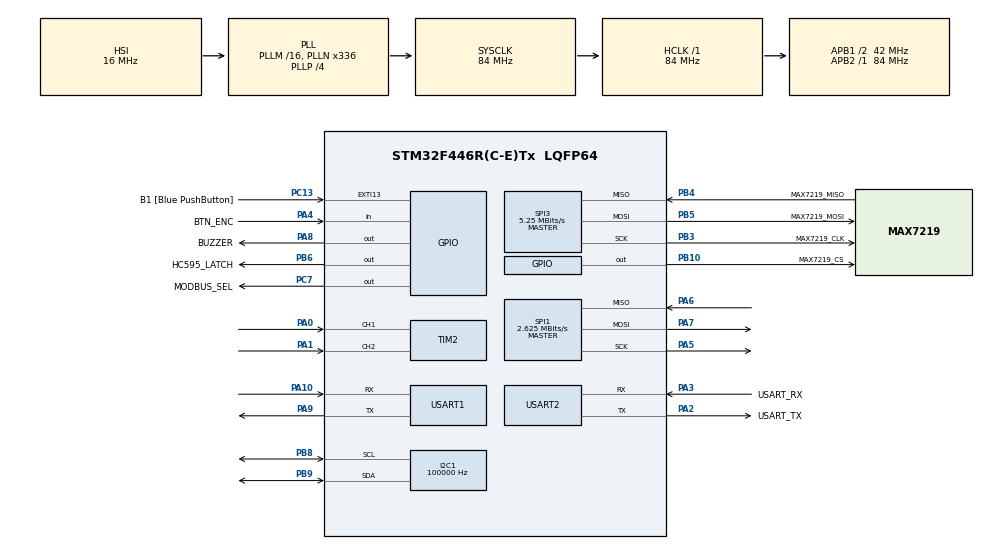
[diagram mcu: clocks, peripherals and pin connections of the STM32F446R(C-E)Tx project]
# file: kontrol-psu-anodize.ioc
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FREERTOS.BinarySemaphores01=buzzerSemaphore,Dynamic,NULL,Available
FREERTOS.Mutexes01=timerDataMutex,Dynamic,NULL,Available
FREERTOS.Tasks01=taskTimerManager,32,1024,StartTaskTimerManager,Default,NULL,Dynamic,NULL,NULL;taskDisplayManager,40,1024,StartTaskDisplayManager,Default,NULL,Dynamic,NULL,NULL;taskInputHandler,8,256,StartTaskInputHandler,Default,NULL,Dynamic,NULL,NULL;taskBuzzer,8,256,StartTaskBuzzer,Default,NULL,Dynamic,NULL,NULL;taskModbusMaster,24,512,StartTaskModbusMaster,Default,NULL,Dynamic,NULL,NULL
FREERTOS.configMAX_TASK_NAME_LEN=32
FREERTOS.configUSE_NEWLIB_REENTRANT=1
I2C1.ClockSpeed=100000
Mcu.Family=STM32F4
Mcu.Name=STM32F446R(C-E)Tx
Mcu.Package=LQFP64
NVIC.PriorityGroup=NVIC_PRIORITYGROUP_4
NVIC.TIM7_IRQn=true\:15\:0\:false\:false\:true\:false\:false\:true\:true
NVIC.TimeBase=TIM7_IRQn
NVIC.TimeBaseIP=TIM7
PA0-WKUP.Signal=S_TIM2_CH1_ETR
PA1.Signal=S_TIM2_CH2
PA10.Mode=Asynchronous
PA10.Signal=USART1_RX
PA13.GPIO_Label=TMS
PA13.Mode=Serial_Wire
PA13.Signal=SYS_JTMS-SWDIO
PA14.GPIO_Label=TCK
PA14.Mode=Serial_Wire
PA14.Signal=SYS_JTCK-SWCLK
PA2.GPIO_Label=USART_TX
PA2.Mode=Asynchronous
PA2.Signal=USART2_TX
PA3.GPIO_Label=USART_RX
PA3.Mode=Asynchronous
PA3.Signal=USART2_RX
PA4.GPIO_Label=BTN_ENC
PA4.Signal=GPIO_Input
PA5.Mode=Full_Duplex_Master
PA5.Signal=SPI1_SCK
PA6.Mode=Full_Duplex_Master
PA6.Signal=SPI1_MISO
PA7.Mode=Full_Duplex_Master
PA7.Signal=SPI1_MOSI
PA8.GPIO_Label=BUZZER
PA8.Signal=GPIO_Output
PA9.Mode=Asynchronous
PA9.Signal=USART1_TX
PB10.GPIO_Label=MAX7219_CS
PB10.Signal=GPIO_Output
PB3.GPIO_Label=MAX7219_CLK
PB3.Mode=Full_Duplex_Master
PB3.Signal=SPI3_SCK
PB4.GPIO_Label=MAX7219_MISO
PB4.Mode=Full_Duplex_Master
PB4.Signal=SPI3_MISO
PB5.GPIO_Label=MAX7219_MOSI
PB5.Mode=Full_Duplex_Master
PB5.Signal=SPI3_MOSI
PB6.GPIO_Label=HC595_LATCH
PB6.Signal=GPIO_Output
PB8.Mode=I2C
PB8.Signal=I2C1_SCL
PB9.Mode=I2C
PB9.Signal=I2C1_SDA
PC13.GPIO_Label=B1 [Blue PushButton]
PC13.GPIO_ModeDefaultEXTI=GPIO_MODE_IT_FALLING
PC13.Signal=GPXTI13
PC7.GPIO_Label=MODBUS_SEL
PC7.Signal=GPIO_Output
ProjectManager.HeapSize=0x200
ProjectManager.StackSize=0x400
ProjectManager.TargetToolchain=STM32CubeIDE
RCC.48MHZClocksFreq_Value=84000000
RCC.AHBFreq_Value=84000000
RCC.APB1CLKDivider=RCC_HCLK_DIV2
RCC.APB1Freq_Value=42000000
RCC.APB1TimFreq_Value=84000000
RCC.APB2Freq_Value=84000000
RCC.APB2TimFreq_Value=84000000
RCC.CortexFreq_Value=84000000
RCC.FLatency-AdvancedSettings=FLASH_LATENCY_2
RCC.HCLKFreq_Value=84000000
RCC.HSE_VALUE=8000000
RCC.HSI_VALUE=16000000
RCC.PLLN=336
RCC.PLLP=RCC_PLLP_DIV4
RCC.SYSCLKFreq_VALUE=84000000
RCC.SYSCLKSource=RCC_SYSCLKSOURCE_PLLCLK
RCC.USBFreq_Value=168000000
RCC.VCOOutputFreq_Value=336000000
SH.S_TIM2_CH1_ETR.0=TIM2_CH1,Encoder_Interface
SH.S_TIM2_CH2.0=TIM2_CH2,Encoder_Interface
SPI1.BaudRatePrescaler=SPI_BAUDRATEPRESCALER_32
SPI1.CalculateBaudRate=2.625 MBits/s
SPI1.Direction=SPI_DIRECTION_2LINES
SPI1.Mode=SPI_MODE_MASTER
SPI1.VirtualType=VM_MASTER
SPI3.BaudRatePrescaler=SPI_BAUDRATEPRESCALER_8
SPI3.CalculateBaudRate=5.25 MBits/s
SPI3.Direction=SPI_DIRECTION_2LINES
SPI3.Mode=SPI_MODE_MASTER
SPI3.VirtualType=VM_MASTER
TIM2.AutoReloadPreload=TIM_AUTORELOAD_PRELOAD_ENABLE
TIM2.EncoderMode=TIM_ENCODERMODE_TI12
TIM2.IC1Filter=10
TIM2.IC2Filter=10
USART1.Parity=PARITY_EVEN
USART1.VirtualMode=VM_ASYNC
USART1.WordLength=WORDLENGTH_9B
USART2.VirtualMode=VM_ASYNC
VP_FREERTOS_VS_CMSIS_V2.Mode=CMSIS_V2
VP_SYS_VS_tim7.Mode=TIM7
board=NUCLEO-F446RE

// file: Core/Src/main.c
/* USER CODE BEGIN Header */
/**
 ******************************************************************************
 * @file           : main.c
 * @brief          : Main program body
 ******************************************************************************
 * @attention
 *
 * Copyright (c) 2025 STMicroelectronics.
 * All rights reserved.
 *
 * This software is licensed under terms that can be found in the LICENSE file
 * in the root directory of this software component.
 * If no LICENSE file comes with this software, it is provided AS-IS.
 *
 ******************************************************************************
 */
/* USER CODE END Header */
#include "main.h"
#include "cmsis_os.h"

/* USER CODE BEGIN Includes */
#include "i2c-lcd.h"
#include "stdio.h"
#include "string.h"
#include "stdbool.h"
#include "stdlib.h"
#include "flash_storage.h"
/* USER CODE END Includes */

/* USER CODE BEGIN PTD */
// Struktur untuk menyimpan informasi setiap timer
// typedef struct
//{
//  uint32_t remaining_seconds; // Waktu tersisa dalam detik
//  bool is_running;            // Status: true jika berjalan, false jika berhenti
//  bool is_finished;           // Status: true jika timer sudah selesai (mencapai 0)
//} TimerInfo_t;

// Mode operasi program
typedef enum
{
  MODE_RUN, // Mode normal, timer berjalan dan menampilkan waktu
  MODE_SET  // Mode pengaturan, untuk mengubah nilai timer
} OperatingMode_t;

// Enum untuk menentukan bagian mana yang sedang diedit di MODE_SET
typedef enum
{
  EDIT_FOCUS_HOUR,
  EDIT_FOCUS_MINUTE,
  EDIT_FOCUS_SECOND,
  EDIT_FOCUS_CURRENT,
  EDIT_FOCUS_START_STOP,
  EDIT_FOCUS_EXIT // Status virtual untuk keluar dari mode SET
} EditFocus_t;
/* USER CODE END PTD */

/* USER CODE BEGIN PD */
#define MAX_CURRENT_A 100 // Nilai arus maksimal dalam Ampere

#define NUM_TIMERS 8          // Jumlah total timer
#define NUM_MATRICES 8        // Jumlah modul matriks yang di-cascade
#define JENIS_FONT FONT_TIPIS // Jenis font yang digunakan untuk tampilan FONT_TIPIS atau FONT_TEBAL

// Definisi untuk driver MAX7219
#define MAX7219_CS_PORT MAX7219_CS_GPIO_Port
#define MAX7219_CS_PIN MAX7219_CS_Pin

#define MAX7219_REG_NO_OP 0x00
#define MAX7219_REG_DECODE_MODE 0x09
#define MAX7219_REG_INTENSITY 0x0A
#define MAX7219_REG_SCAN_LIMIT 0x0B
#define MAX7219_REG_SHUTDOWN 0x0C
#define MAX7219_REG_DISPLAY_TEST 0x0F

// === Definisi Driver 74HC595 (via SPI2) ===
#define HC595_LATCH_PORT HC595_LATCH_GPIO_Port // Pin STCP / RCLK
#define HC595_LATCH_PIN HC595_LATCH_Pin        // Pin RCLK
// Pin DATA (MOSI) dan CLK (SCK) dikontrol oleh periferal SPI2

// Definisi pin tombol (sesuaikan dengan konfigurasi CubeMX Anda)
#define BTN_SET_PORT BTN_ENC_GPIO_Port
#define BTN_SET_PIN BTN_ENC_Pin

// Definisi pin buzzer
#define BUZZER_PORT BUZZER_GPIO_Port
#define BUZZER_PIN BUZZER_Pin

// --- Definisi Modbus ---
#define MODBUS_SLAVE_ID 1
#define MODBUS_WRITE_MULTIPLE_REGS 0x10
#define MODBUS_START_ADDRESS 0
#define MODBUS_NUM_REGISTERS (NUM_TIMERS * 4) // 4 register per timer (jam, menit, detik, status)
/* USER CODE END PD */

I2C_HandleTypeDef hi2c1;

SPI_HandleTypeDef hspi1;
SPI_HandleTypeDef hspi3;

TIM_HandleTypeDef htim2;

UART_HandleTypeDef huart1;
UART_HandleTypeDef huart2;

/* Definitions for taskTimerManager */
osThreadId_t taskTimerManagerHandle;
const osThreadAttr_t taskTimerManager_attributes = {
    .name = "taskTimerManager",
    .stack_size = 1024 * 4,
    .priority = (osPriority_t)osPriorityAboveNormal,
};
/* Definitions for taskDisplayManager */
osThreadId_t taskDisplayManagerHandle;
const osThreadAttr_t taskDisplayManager_attributes = {
    .name = "taskDisplayManager",
    .stack_size = 1024 * 4,
    .priority = (osPriority_t)osPriorityHigh,
};
/* Definitions for taskInputHandler */
osThreadId_t taskInputHandlerHandle;
const osThreadAttr_t taskInputHandler_attributes = {
    .name = "taskInputHandler",
    .stack_size = 256 * 4,
    .priority = (osPriority_t)osPriorityLow,
};
/* Definitions for taskBuzzer */
osThreadId_t taskBuzzerHandle;
const osThreadAttr_t taskBuzzer_attributes = {
    .name = "taskBuzzer",
    .stack_size = 256 * 4,
    .priority = (osPriority_t)osPriorityLow,
};
/* Definitions for taskModbusMaster */
osThreadId_t taskModbusMasterHandle;
const osThreadAttr_t taskModbusMaster_attributes = {
    .name = "taskModbusMaster",
    .stack_size = 512 * 4,
    .priority = (osPriority_t)osPriorityNormal,
};
/* Definitions for timerDataMutex */
osMutexId_t timerDataMutexHandle;
const osMutexAttr_t timerDataMutex_attributes = {
    .name = "timerDataMutex"};
/* Definitions for buzzerSemaphore */
osSemaphoreId_t buzzerSemaphoreHandle;
const osSemaphoreAttr_t buzzerSemaphore_attributes = {
    .name = "buzzerSemaphore"};
/* USER CODE BEGIN PV */
// Variabel Global (Shared State) - dilindungi oleh Mutex
TimerInfo_t timers[NUM_TIMERS];
OperatingMode_t current_mode = MODE_RUN;
uint8_t selected_timer_index = 0;         // Timer yang sedang dipilih (untuk diatur/dilihat)
uint8_t run_mode_display_index = 0;       // Timer yang sedang ditampilkan di mode RUN
EditFocus_t edit_focus = EDIT_FOCUS_HOUR; // Fokus edit saat berada di MODE_SET
/* USER CODE END PV */

void SystemClock_Config(void);
static void MX_GPIO_Init(void);
static void MX_USART2_UART_Init(void);
static void MX_I2C1_Init(void);
static void MX_SPI1_Init(void);
static void MX_SPI3_Init(void);
static void MX_TIM2_Init(void);
static void MX_USART1_UART_Init(void);
void StartTaskTimerManager(void *argument);
void StartTaskDisplayManager(void *argument);
void StartTaskInputHandler(void *argument);
void StartTaskBuzzer(void *argument);
void StartTaskModbusMaster(void *argument);

/* USER CODE BEGIN PFP */
// Prototipe fungsi helper
void InitializeTimers(void);
void format_time(char *buffer, uint32_t total_seconds);
void format_time_split(uint32_t total_seconds, uint32_t *h, uint32_t *m, uint32_t *s);

// Prototipe Driver MAX7219
void MAX7219_Init(void);
void MAX7219_Send_Cascade(uint8_t reg, const uint8_t *data_array);
void MAX7219_Clear_Cascade(void);
void DrawCharacterOnMatrix(uint8_t matrix_buffer[8], char c);

// Prototipe Driver 74HC595
void HC595_Write(uint8_t data);

// --- Prototipe Fungsi Modbus ---
uint16_t Modbus_CRC16(const uint8_t *nData, uint16_t wLength);
void ModbusMaster_WriteMultipleRegisters(uint8_t slave_id, uint16_t start_addr, uint16_t num_regs, uint16_t *reg_data);
/* USER CODE END PFP */

/* USER CODE BEGIN 0 */

// ===================================================================
// ===         FONT DEFINITION UNTUK DOT MATRIX 8x8 (BARU)         ===
// ===================================================================
// Definisi font untuk karakter 0-9 dan ':'
// Setiap karakter direpresentasikan oleh 8 byte, masing-masing byte untuk satu baris
// Lebar karakter 5 piksel, tinggi 8 piksel
const uint8_t font_tipis[11][8] = {
    {0x3E, 0x42, 0x46, 0x4A, 0x52, 0x62, 0x42, 0x3E}, // 0
    {0x10, 0x30, 0x10, 0x10, 0x10, 0x10, 0x10, 0x38}, // 1
    {0x3E, 0x42, 0x02, 0x04, 0x08, 0x10, 0x40, 0x7E}, // 2
    {0x3E, 0x42, 0x02, 0x1C, 0x02, 0x02, 0x42, 0x3E}, // 3
    {0x04, 0x0C, 0x14, 0x24, 0x7E, 0x04, 0x04, 0x04}, // 4
    {0x7E, 0x40, 0x40, 0x7C, 0x02, 0x02, 0x42, 0x3E}, // 5
    {0x3E, 0x42, 0x40, 0x7C, 0x42, 0x42, 0x42, 0x3E}, // 6
    {0x7E, 0x42, 0x04, 0x08, 0x10, 0x20, 0x20, 0x20}, // 7
    {0x3E, 0x42, 0x42, 0x3E, 0x42, 0x42, 0x42, 0x3E}, // 8
    {0x3E, 0x42, 0x42, 0x42, 0x3E, 0x02, 0x42, 0x3E}, // 9
    {0x00, 0x00, 0x30, 0x30, 0x00, 0x30, 0x30, 0x00}  // :
};

const uint8_t font_tebal[11][8] = {
    {0x7C, 0xC6, 0xCE, 0xDE, 0xF6, 0xE6, 0x7C, 0x00}, // U+0030 (0)
    {0x30, 0x70, 0x30, 0x30, 0x30, 0x30, 0xFC, 0x00}, // U+0031 (1)
    {0x78, 0xCC, 0x0C, 0x38, 0x60, 0xCC, 0xFC, 0x00}, // U+0032 (2)
    {0x78, 0xCC, 0x0C, 0x38, 0x0C, 0xCC, 0x78, 0x00}, // U+0033 (3)
    {0x1C, 0x3C, 0x6C, 0xCC, 0xFE, 0x0C, 0x1E, 0x00}, // U+0034 (4)
    {0xFC, 0xC0, 0xF8, 0x0C, 0x0C, 0xCC, 0x78, 0x00}, // U+0035 (5)
    {0x38, 0x60, 0xC0, 0xF8, 0xCC, 0xCC, 0x78, 0x00}, // U+0036 (6)
    {0xFC, 0xCC, 0x0C, 0x30, 0x60, 0x60, 0x60, 0x00}, // U+0037 (7)
    {0x78, 0xCC, 0xCC, 0x78, 0xCC, 0xCC, 0x78, 0x00}, // U+0038 (8)
    {0x78, 0xCC, 0xCC, 0x7C, 0x0C, 0x30, 0x70, 0x00}, // U+0039 (9)
    {0x00, 0x30, 0x30, 0x00, 0x00, 0x30, 0x30, 0x00}  // U+003A (:)
};
/* USER CODE END 0 */

int main(void)
{

  /* MCU Configuration--------------------------------------------------------*/

  /* Reset of all peripherals, Initializes the Flash interface and the Systick. */
  HAL_Init();

  /* Configure the system clock */
  SystemClock_Config();

  /* Initialize all configured peripherals */
  MX_GPIO_Init();
  MX_USART2_UART_Init();
  MX_I2C1_Init();
  MX_SPI1_Init();
  MX_SPI3_Init();
  MX_TIM2_Init();
  MX_USART1_UART_Init();
  /* USER CODE BEGIN 2 */
  /* Initialize custom peripherals and data */
  InitializeTimers();
  lcd_init();
  MAX7219_Init();
  HC595_Write(0x00); // Matikan semua LED

  // Mulai timer encoder
  HAL_TIM_Encoder_Start(&htim2, TIM_CHANNEL_ALL);
  /* USER CODE END 2 */

  /* Init scheduler */
  osKernelInitialize();
  /* Create the mutex(es) */
  /* creation of timerDataMutex */
  timerDataMutexHandle = osMutexNew(&timerDataMutex_attributes);

  /* Create the semaphores(s) */
  /* creation of buzzerSemaphore */
  buzzerSemaphoreHandle = osSemaphoreNew(1, 1, &buzzerSemaphore_attributes);

  /* Create the thread(s) */
  /* creation of taskTimerManager */
  taskTimerManagerHandle = osThreadNew(StartTaskTimerManager, NULL, &taskTimerManager_attributes);

  /* creation of taskDisplayManager */
  taskDisplayManagerHandle = osThreadNew(StartTaskDisplayManager, NULL, &taskDisplayManager_attributes);

  /* creation of taskInputHandler */
  taskInputHandlerHandle = osThreadNew(StartTaskInputHandler, NULL, &taskInputHandler_attributes);

  /* creation of taskBuzzer */
  taskBuzzerHandle = osThreadNew(StartTaskBuzzer, NULL, &taskBuzzer_attributes);

  /* creation of taskModbusMaster */
  taskModbusMasterHandle = osThreadNew(StartTaskModbusMaster, NULL, &taskModbusMaster_attributes);

  /* USER CODE BEGIN RTOS_THREADS */
  /* add threads, ... */

  //  cek apakah thread sudah berhasil atau belum
  if (taskTimerManagerHandle == NULL ||
      taskDisplayManagerHandle == NULL ||
      taskInputHandlerHandle == NULL ||
      taskBuzzerHandle == NULL ||
      taskModbusMasterHandle == NULL)
  {
    /* Thread creation failed, handle error */
    //    lcd_put_cur(0, 0);
    //    lcd_send_string("Dtech Eng");
    //    lcd_put_cur(1, 0);
    //    lcd_send_string("Failed");
    Error_Handler();
  }
  /* USER CODE END RTOS_THREADS */

  /* Start scheduler */
  osKernelStart();

  /* We should never get here as control is now taken by the scheduler */

  /* Infinite loop */
  while (1)
  {

  }
}

void SystemClock_Config(void)
{
  RCC_OscInitTypeDef RCC_OscInitStruct = {0};
  RCC_ClkInitTypeDef RCC_ClkInitStruct = {0};

  /** Configure the main internal regulator output voltage
   */
  __HAL_RCC_PWR_CLK_ENABLE();
  __HAL_PWR_VOLTAGESCALING_CONFIG(PWR_REGULATOR_VOLTAGE_SCALE3);

  /** Initializes the RCC Oscillators according to the specified parameters
   * in the RCC_OscInitTypeDef structure.
   */
  RCC_OscInitStruct.OscillatorType = RCC_OSCILLATORTYPE_HSI;
  RCC_OscInitStruct.HSIState = RCC_HSI_ON;
  RCC_OscInitStruct.HSICalibrationValue = RCC_HSICALIBRATION_DEFAULT;
  RCC_OscInitStruct.PLL.PLLState = RCC_PLL_ON;
  RCC_OscInitStruct.PLL.PLLSource = RCC_PLLSOURCE_HSI;
  RCC_OscInitStruct.PLL.PLLM = 16;
  RCC_OscInitStruct.PLL.PLLN = 336;
  RCC_OscInitStruct.PLL.PLLP = RCC_PLLP_DIV4;
  RCC_OscInitStruct.PLL.PLLQ = 2;
  RCC_OscInitStruct.PLL.PLLR = 2;
  if (HAL_RCC_OscConfig(&RCC_OscInitStruct) != HAL_OK)
  {
    Error_Handler();
  }

  /** Initializes the CPU, AHB and APB buses clocks
   */
  RCC_ClkInitStruct.ClockType = RCC_CLOCKTYPE_HCLK | RCC_CLOCKTYPE_SYSCLK | RCC_CLOCKTYPE_PCLK1 | RCC_CLOCKTYPE_PCLK2;
  RCC_ClkInitStruct.SYSCLKSource = RCC_SYSCLKSOURCE_PLLCLK;
  RCC_ClkInitStruct.AHBCLKDivider = RCC_SYSCLK_DIV1;
  RCC_ClkInitStruct.APB1CLKDivider = RCC_HCLK_DIV2;
  RCC_ClkInitStruct.APB2CLKDivider = RCC_HCLK_DIV1;

  if (HAL_RCC_ClockConfig(&RCC_ClkInitStruct, FLASH_LATENCY_2) != HAL_OK)
  {
    Error_Handler();
  }
}

static void MX_I2C1_Init(void)
{

  hi2c1.Instance = I2C1;
  hi2c1.Init.ClockSpeed = 100000;
  hi2c1.Init.DutyCycle = I2C_DUTYCYCLE_2;
  hi2c1.Init.OwnAddress1 = 0;
  hi2c1.Init.AddressingMode = I2C_ADDRESSINGMODE_7BIT;
  hi2c1.Init.DualAddressMode = I2C_DUALADDRESS_DISABLE;
  hi2c1.Init.OwnAddress2 = 0;
  hi2c1.Init.GeneralCallMode = I2C_GENERALCALL_DISABLE;
  hi2c1.Init.NoStretchMode = I2C_NOSTRETCH_DISABLE;
  if (HAL_I2C_Init(&hi2c1) != HAL_OK)
  {
    Error_Handler();
  }
}

static void MX_SPI1_Init(void)
{

  /* SPI1 parameter configuration*/
  hspi1.Instance = SPI1;
  hspi1.Init.Mode = SPI_MODE_MASTER;
  hspi1.Init.Direction = SPI_DIRECTION_2LINES;
  hspi1.Init.DataSize = SPI_DATASIZE_8BIT;
  hspi1.Init.CLKPolarity = SPI_POLARITY_LOW;
  hspi1.Init.CLKPhase = SPI_PHASE_1EDGE;
  hspi1.Init.NSS = SPI_NSS_SOFT;
  hspi1.Init.BaudRatePrescaler = SPI_BAUDRATEPRESCALER_32;
  hspi1.Init.FirstBit = SPI_FIRSTBIT_MSB;
  hspi1.Init.TIMode = SPI_TIMODE_DISABLE;
  hspi1.Init.CRCCalculation = SPI_CRCCALCULATION_DISABLE;
  hspi1.Init.CRCPolynomial = 10;
  if (HAL_SPI_Init(&hspi1) != HAL_OK)
  {
    Error_Handler();
  }
}

static void MX_SPI3_Init(void)
{

  /* SPI3 parameter configuration*/
  hspi3.Instance = SPI3;
  hspi3.Init.Mode = SPI_MODE_MASTER;
  hspi3.Init.Direction = SPI_DIRECTION_2LINES;
  hspi3.Init.DataSize = SPI_DATASIZE_8BIT;
  hspi3.Init.CLKPolarity = SPI_POLARITY_LOW;
  hspi3.Init.CLKPhase = SPI_PHASE_1EDGE;
  hspi3.Init.NSS = SPI_NSS_SOFT;
  hspi3.Init.BaudRatePrescaler = SPI_BAUDRATEPRESCALER_8;
  hspi3.Init.FirstBit = SPI_FIRSTBIT_MSB;
  hspi3.Init.TIMode = SPI_TIMODE_DISABLE;
  hspi3.Init.CRCCalculation = SPI_CRCCALCULATION_DISABLE;
  hspi3.Init.CRCPolynomial = 10;
  if (HAL_SPI_Init(&hspi3) != HAL_OK)
  {
    Error_Handler();
  }
}

static void MX_TIM2_Init(void)
{

  TIM_Encoder_InitTypeDef sConfig = {0};
  TIM_MasterConfigTypeDef sMasterConfig = {0};

  htim2.Instance = TIM2;
  htim2.Init.Prescaler = 0;
  htim2.Init.CounterMode = TIM_COUNTERMODE_UP;
  htim2.Init.Period = 4294967295;
  htim2.Init.ClockDivision = TIM_CLOCKDIVISION_DIV1;
  htim2.Init.AutoReloadPreload = TIM_AUTORELOAD_PRELOAD_ENABLE;
  sConfig.EncoderMode = TIM_ENCODERMODE_TI12;
  sConfig.IC1Polarity = TIM_ICPOLARITY_RISING;
  sConfig.IC1Selection = TIM_ICSELECTION_DIRECTTI;
  sConfig.IC1Prescaler = TIM_ICPSC_DIV1;
  sConfig.IC1Filter = 10;
  sConfig.IC2Polarity = TIM_ICPOLARITY_RISING;
  sConfig.IC2Selection = TIM_ICSELECTION_DIRECTTI;
  sConfig.IC2Prescaler = TIM_ICPSC_DIV1;
  sConfig.IC2Filter = 10;
  if (HAL_TIM_Encoder_Init(&htim2, &sConfig) != HAL_OK)
  {
    Error_Handler();
  }
  sMasterConfig.MasterOutputTrigger = TIM_TRGO_RESET;
  sMasterConfig.MasterSlaveMode = TIM_MASTERSLAVEMODE_DISABLE;
  if (HAL_TIMEx_MasterConfigSynchronization(&htim2, &sMasterConfig) != HAL_OK)
  {
    Error_Handler();
  }
}

static void MX_USART1_UART_Init(void)
{

  huart1.Instance = USART1;
  huart1.Init.BaudRate = 115200;
  huart1.Init.WordLength = UART_WORDLENGTH_9B;
  huart1.Init.StopBits = UART_STOPBITS_1;
  huart1.Init.Parity = UART_PARITY_EVEN;
  huart1.Init.Mode = UART_MODE_TX_RX;
  huart1.Init.HwFlowCtl = UART_HWCONTROL_NONE;
  huart1.Init.OverSampling = UART_OVERSAMPLING_16;
  if (HAL_UART_Init(&huart1) != HAL_OK)
  {
    Error_Handler();
  }
}

static void MX_USART2_UART_Init(void)
{

  huart2.Instance = USART2;
  huart2.Init.BaudRate = 115200;
  huart2.Init.WordLength = UART_WORDLENGTH_8B;
  huart2.Init.StopBits = UART_STOPBITS_1;
  huart2.Init.Parity = UART_PARITY_NONE;
  huart2.Init.Mode = UART_MODE_TX_RX;
  huart2.Init.HwFlowCtl = UART_HWCONTROL_NONE;
  huart2.Init.OverSampling = UART_OVERSAMPLING_16;
  if (HAL_UART_Init(&huart2) != HAL_OK)
  {
    Error_Handler();
  }
}

static void MX_GPIO_Init(void)
{
  GPIO_InitTypeDef GPIO_InitStruct = {0};

  /* GPIO Ports Clock Enable */
  __HAL_RCC_GPIOC_CLK_ENABLE();
  __HAL_RCC_GPIOA_CLK_ENABLE();
  __HAL_RCC_GPIOB_CLK_ENABLE();

  /*Configure GPIO pin Output Level */
  HAL_GPIO_WritePin(GPIOB, MAX7219_CS_Pin | HC595_LATCH_Pin, GPIO_PIN_RESET);

  /*Configure GPIO pin Output Level */
  HAL_GPIO_WritePin(MODBUS_SEL_GPIO_Port, MODBUS_SEL_Pin, GPIO_PIN_RESET);

  /*Configure GPIO pin Output Level */
  HAL_GPIO_WritePin(BUZZER_GPIO_Port, BUZZER_Pin, GPIO_PIN_RESET);

  /*Configure GPIO pin : B1_Pin */
  GPIO_InitStruct.Pin = B1_Pin;
  GPIO_InitStruct.Mode = GPIO_MODE_IT_FALLING;
  GPIO_InitStruct.Pull = GPIO_NOPULL;
  HAL_GPIO_Init(B1_GPIO_Port, &GPIO_InitStruct);

  /*Configure GPIO pin : BTN_ENC_Pin */
  GPIO_InitStruct.Pin = BTN_ENC_Pin;
  GPIO_InitStruct.Mode = GPIO_MODE_INPUT;
  GPIO_InitStruct.Pull = GPIO_NOPULL;
  HAL_GPIO_Init(BTN_ENC_GPIO_Port, &GPIO_InitStruct);

  /*Configure GPIO pins : MAX7219_CS_Pin HC595_LATCH_Pin */
  GPIO_InitStruct.Pin = MAX7219_CS_Pin | HC595_LATCH_Pin;
  GPIO_InitStruct.Mode = GPIO_MODE_OUTPUT_PP;
  GPIO_InitStruct.Pull = GPIO_NOPULL;
  GPIO_InitStruct.Speed = GPIO_SPEED_FREQ_LOW;
  HAL_GPIO_Init(GPIOB, &GPIO_InitStruct);

  /*Configure GPIO pin : MODBUS_SEL_Pin */
  GPIO_InitStruct.Pin = MODBUS_SEL_Pin;
  GPIO_InitStruct.Mode = GPIO_MODE_OUTPUT_PP;
  GPIO_InitStruct.Pull = GPIO_NOPULL;
  GPIO_InitStruct.Speed = GPIO_SPEED_FREQ_LOW;
  HAL_GPIO_Init(MODBUS_SEL_GPIO_Port, &GPIO_InitStruct);

  /*Configure GPIO pin : BUZZER_Pin */
  GPIO_InitStruct.Pin = BUZZER_Pin;
  GPIO_InitStruct.Mode = GPIO_MODE_OUTPUT_PP;
  GPIO_InitStruct.Pull = GPIO_NOPULL;
  GPIO_InitStruct.Speed = GPIO_SPEED_FREQ_LOW;
  HAL_GPIO_Init(BUZZER_GPIO_Port, &GPIO_InitStruct);

}

/* USER CODE BEGIN 4 */

// ============== FUNGSI HELPER & DRIVER MAX7219 =================

/**
 * @brief Menginisialisasi semua timer ke nilai default.
 */
void InitializeTimers(void)
{
  // Pertama, baca semua data dari flash ke dalam array timers
  Flash_Read_Data(timers, NUM_TIMERS);

  // Kemudian, validasi data yang dibaca
  if (osMutexAcquire(timerDataMutexHandle, osWaitForever) == osOK)
  {
    for (int i = 0; i < NUM_TIMERS; i++)
    {
      // Set status runtime ke nilai default
      timers[i].is_running = false;
      timers[i].is_finished = false;

      // Cek jika data yang dibaca dari flash tidak valid (misal, 0xFFFFFFFF setelah erase)
      if (timers[i].remaining_seconds == 0xFFFFFFFF)
      {
        timers[i].remaining_seconds = 0;
        timers[i].current_mA = 0;
      }
      // Validasi arus
      if (timers[i].current_mA > (MAX_CURRENT_A * 1000))
      {
        timers[i].current_mA = 0;
      }
    }
    osMutexRelease(timerDataMutexHandle);
  }
}

/**
 * @brief Mengubah total detik menjadi format HH:MM:SS
 */
void format_time(char *buffer, uint32_t total_seconds)
{
  uint32_t hours = total_seconds / 3600;
  uint32_t minutes = (total_seconds % 3600) / 60;
  uint32_t seconds = total_seconds % 60;
  sprintf(buffer, "%02lu:%02lu:%02lu", hours, minutes, seconds);
}

void format_time_split(uint32_t total_seconds, uint32_t *h, uint32_t *m, uint32_t *s)
{
  *h = total_seconds / 3600;
  *m = (total_seconds % 3600) / 60;
  *s = total_seconds % 60;
}

// ============== DRIVER 74HC595 =================

/**
 * @brief Mengirim 1 byte data ke 74HC595 menggunakan SPI2.
 */
void HC595_Write(uint8_t data)
{
  // Set Latch pin ke LOW sebelum mengirim data
  HAL_GPIO_WritePin(HC595_LATCH_PORT, HC595_LATCH_PIN, GPIO_PIN_RESET);

  // Kirim data melalui SPI. Ini adalah operasi blocking.
  // Timeout diatur ke 100ms.
  if (HAL_SPI_Transmit(&hspi1, &data, 1, 100) != HAL_OK)
  {
    Error_Handler();
  }

  // Set Latch pin ke HIGH untuk memindahkan data dari shift register ke storage register
  HAL_GPIO_WritePin(HC595_LATCH_PORT, HC595_LATCH_PIN, GPIO_PIN_SET);
  HAL_GPIO_WritePin(HC595_LATCH_PORT, HC595_LATCH_PIN, GPIO_PIN_RESET);
}

// ===================================================================
// ===     DRIVER MAX7219 UNTUK DOT MATRIX CASCADE (DIMODIFIKASI)    ===
// ===================================================================

/**
 * @brief Mengirim data ke semua modul MAX7219 yang di-cascade.
 * @param reg: Alamat register MAX7219 yang dituju (misal, baris 1-8).
 * @param data_array: Array 8 byte. data_array[0] untuk modul 1, ..., data_array[7] untuk modul 8.
 */
void MAX7219_Send_Cascade(uint8_t reg, const uint8_t *data_array)
{
  uint8_t spi_data[2];

  HAL_GPIO_WritePin(MAX7219_CS_PORT, MAX7219_CS_PIN, GPIO_PIN_RESET);

  // Kirim data ke semua modul dalam satu siklus CS
  // Data dikirim secara terbalik, karena sifat shift register.
  // Data untuk modul terakhir (paling jauh dari MCU) dikirim pertama kali.
  for (int i = NUM_MATRICES - 1; i >= 0; i--)
  {
    spi_data[0] = reg;
    spi_data[1] = data_array[i];
    HAL_SPI_Transmit(&hspi3, spi_data, 2, 100);
  }

  HAL_GPIO_WritePin(MAX7219_CS_PORT, MAX7219_CS_PIN, GPIO_PIN_SET);
}

/**
 * @brief Inisialisasi modul MAX7219 untuk mode dot matrix.
 */
void MAX7219_Init(void)
{
  uint8_t init_data[NUM_MATRICES] = {0}; // Buffer dummy untuk data

  // Matikan display untuk sementara
  memset(init_data, 0, NUM_MATRICES);
  MAX7219_Send_Cascade(MAX7219_REG_SHUTDOWN, init_data);

  // Matikan display test
  memset(init_data, 0, NUM_MATRICES);
  MAX7219_Send_Cascade(MAX7219_REG_DISPLAY_TEST, init_data);

  // Set scan limit ke 8 baris (digit 0-7)
  memset(init_data, 7, NUM_MATRICES);
  MAX7219_Send_Cascade(MAX7219_REG_SCAN_LIMIT, init_data);

  // Set mode ke No Decode untuk dot matrix
  memset(init_data, 0x00, NUM_MATRICES); // <-- PERUBAHAN PENTING
  MAX7219_Send_Cascade(MAX7219_REG_DECODE_MODE, init_data);

  // Set kecerahan (0-15)
  memset(init_data, 7, NUM_MATRICES);
  MAX7219_Send_Cascade(MAX7219_REG_INTENSITY, init_data);

  // Nyalakan kembali display
  memset(init_data, 1, NUM_MATRICES);
  MAX7219_Send_Cascade(MAX7219_REG_SHUTDOWN, init_data);

  // Bersihkan layar
  MAX7219_Clear_Cascade();
}

/**
 * @brief Membersihkan semua layar dot matrix.
 */
void MAX7219_Clear_Cascade(void)
{
  uint8_t clear_data[NUM_MATRICES];
  memset(clear_data, 0x00, NUM_MATRICES); // 0x00 untuk mematikan semua LED
  for (int i = 1; i <= 8; i++)
  {
    MAX7219_Send_Cascade(i, clear_data);
  }
}

/**
 * @brief Menggambar satu karakter ke buffer 8x8.
 * @param matrix_buffer: Buffer 8 byte untuk satu matriks.
 * @param c: Karakter yang akan digambar ('0'-'9' atau ':').
 */
void DrawCharacterOnMatrix(uint8_t matrix_buffer[8], char c)
{
  int font_index;
  if (c >= '0' && c <= '9')
  {
    font_index = c - '0';
  }
  else if (c == ':')
  {
    font_index = 10;
  }
  else
  {
    // Karakter tidak dikenal, gambar spasi (kosong)
    memset(matrix_buffer, 0x00, 8);
    return;
  }

// Salin data font ke buffer matriks
#if JENIS_FONT == FONT_TIPIS
  memcpy(matrix_buffer, font_tipis[font_index], 8);
#elif JENIS_FONT == FONT_TEBAL
  memcpy(matrix_buffer, font_tebal[font_index], 8);
#endif
}

// ============== FUNGSI MODBUS =================

/**
 * @brief  Menghitung CRC16 untuk frame Modbus.
 * @param  nData: Pointer ke buffer data.
 * @param  wLength: Panjang data dalam byte.
 * @retval Nilai CRC16.
 */
uint16_t Modbus_CRC16(const uint8_t *nData, uint16_t wLength)
{
  static const uint16_t wCRCTable[] = {
      0X0000, 0XC0C1, 0XC181, 0X0140, 0XC301, 0X03C0, 0X0280, 0XC241,
      0XC601, 0X06C0, 0X0780, 0XC741, 0X0500, 0XC5C1, 0XC481, 0X0440,
      0XCC01, 0X0CC0, 0X0D80, 0XCD41, 0X0F00, 0XCFC1, 0XCE81, 0X0E40,
      0X0A00, 0XCAC1, 0XCB81, 0X0B40, 0XCD01, 0X0DC0, 0X0C80, 0XCC41,
      0XD801, 0X18C0, 0X1980, 0XD941, 0X1B00, 0XDBC1, 0XDA81, 0X1A40,
      0X1E00, 0XDEC1, 0XDF81, 0X1F40, 0XDD01, 0X1DC0, 0X1C80, 0XDC41,
      0X1400, 0XD4C1, 0XD581, 0X1540, 0XD701, 0X17C0, 0X1680, 0XD641,
      0XD201, 0X12C0, 0X1380, 0XD341, 0X1100, 0XD1C1, 0XD081, 0X1040,
      0XF001, 0X30C0, 0X3180, 0XF141, 0X3300, 0XF3C1, 0XF281, 0X3240,
      0X3600, 0XF6C1, 0XF781, 0X3740, 0XF501, 0X35C0, 0X3480, 0XF441,
      0X3C00, 0XFCC1, 0XFD81, 0X3D40, 0XFF01, 0X3FC0, 0X3E80, 0XFE41,
      0XFA01, 0X3AC0, 0X3B80, 0XFB41, 0X3900, 0XF9C1, 0XF881, 0X3840,
      0X2800, 0XE8C1, 0XE981, 0X2940, 0XEB01, 0X2BC0, 0X2A80, 0XEA41,
      0XEE01, 0X2EC0, 0X2F80, 0XEF41, 0X2D00, 0XEDC1, 0XEC81, 0X2C40,
      0XE401, 0X24C0, 0X2580, 0XE541, 0X2700, 0XE7C1, 0XE681, 0X2640,
      0X2200, 0XE2C1, 0XE381, 0X2340, 0XE101, 0X21C0, 0X2080, 0XE041,
      0XA001, 0X60C0, 0X6180, 0XA141, 0X6300, 0XA3C1, 0XA281, 0X6240,
      0X6600, 0XA6C1, 0XA781, 0X6740, 0XA501, 0X65C0, 0X6480, 0XA441,
      0X6C00, 0XACC1, 0XAD81, 0X6D40, 0XAF01, 0X6FC0, 0X6E80, 0XAE41,
      0XAA01, 0X6AC0, 0X6B80, 0XAB41, 0X6900, 0XA9C1, 0XA881, 0X6840,
      0X7800, 0XB8C1, 0XB981, 0X7940, 0XBB01, 0X7BC0, 0X7A80, 0XBA41,
      0XBE01, 0X7EC0, 0X7F80, 0XBF41, 0X7D00, 0XBDC1, 0XBC81, 0X7C40,
      0XB401, 0X74C0, 0X7580, 0XB541, 0X7700, 0XB7C1, 0XB681, 0X7640,
      0X7200, 0XB2C1, 0XB381, 0X7340, 0XB101, 0X71C0, 0X7080, 0XB041,
      0X5000, 0X90C1, 0X9181, 0X5140, 0X9301, 0X53C0, 0X5280, 0X9241,
      0X9601, 0X56C0, 0X5780, 0X9741, 0X5500, 0X95C1, 0X9481, 0X5440,
      0X9C01, 0X5CC0, 0X5D80, 0X9D41, 0X5F00, 0X9FC1, 0X9E81, 0X5E40,
      0X5A00, 0X9AC1, 0X9B81, 0X5B40, 0X9D01, 0X5DC0, 0X5C80, 0X9C41,
      0X8801, 0X48C0, 0X4980, 0X8941, 0X4B00, 0X8BC1, 0X8A81, 0X4A40,
      0X4E00, 0X8EC1, 0X8F81, 0X4F40, 0X8D01, 0X4DC0, 0X4C80, 0X8C41,
      0X4400, 0X84C1, 0X8581, 0X4540, 0X8701, 0X47C0, 0X4680, 0X8641,
      0X8201, 0X42C0, 0X4380, 0X8341, 0X4100, 0X81C1, 0X8081, 0X4040};

  uint8_t nTemp;
  uint16_t wCRCWord = 0xFFFF;

  while (wLength--)
  {
    nTemp = *nData++ ^ wCRCWord;
    wCRCWord >>= 8;
    wCRCWord ^= wCRCTable[nTemp];
  }
  return wCRCWord;
}

/**
 * @brief  Mengirim frame Modbus "Write Multiple Registers" (FC 16).
 * @param  slave_id: Alamat slave (1-247).
 * @param  start_addr: Alamat register awal.
 * @param  num_regs: Jumlah register yang akan ditulis.
 * @param  reg_data: Pointer ke array data register (uint16_t).
 * @retval None
 */
void ModbusMaster_WriteMultipleRegisters(uint8_t slave_id, uint16_t start_addr, uint16_t num_regs, uint16_t *reg_data)
{
  // Ukuran frame: 1(ID) + 1(FC) + 2(Addr) + 2(NumRegs) + 1(ByteCount) + N*2(Data) + 2(CRC)
  uint8_t frame[256];
  uint8_t frame_len = 0;

  // 1. Isi header Modbus
  frame[frame_len++] = slave_id;
  frame[frame_len++] = MODBUS_WRITE_MULTIPLE_REGS;
  frame[frame_len++] = (start_addr >> 8) & 0xFF; // Alamat (MSB)
  frame[frame_len++] = start_addr & 0xFF;        // Alamat (LSB)
  frame[frame_len++] = (num_regs >> 8) & 0xFF;   // Jumlah Reg (MSB)
  frame[frame_len++] = num_regs & 0xFF;          // Jumlah Reg (LSB)
  frame[frame_len++] = num_regs * 2;             // Jumlah Byte

  // 2. Isi data payload
  for (int i = 0; i < num_regs; i++)
  {
    frame[frame_len++] = (reg_data[i] >> 8) & 0xFF; // Data (MSB)
    frame[frame_len++] = reg_data[i] & 0xFF;        // Data (LSB)
  }

  // 3. Hitung dan tambahkan CRC
  uint16_t crc = Modbus_CRC16(frame, frame_len);
  frame[frame_len++] = crc & 0xFF;        // CRC (LSB)
  frame[frame_len++] = (crc >> 8) & 0xFF; // CRC (MSB)

  // 4. Kirim frame melalui UART
  // Atur pin DE/RE ke mode Transmit
  HAL_GPIO_WritePin(MODBUS_SEL_GPIO_Port, MODBUS_SEL_Pin, GPIO_PIN_SET);

  // Beri sedikit jeda agar pin DE/RE stabil sebelum mengirim data
  osDelay(1);

  HAL_UART_Transmit(&huart1, frame, frame_len, 1000); // Timeout 1 detik

  // Beri jeda untuk memastikan semua data terkirim sebelum menonaktifkan DE
  osDelay(10); // Sesuaikan delay ini jika perlu (tergantung baudrate)

  // Kembalikan pin DE/RE ke mode Receive
  HAL_GPIO_WritePin(MODBUS_SEL_GPIO_Port, MODBUS_SEL_Pin, GPIO_PIN_RESET);
}

/* USER CODE END 4 */

void StartTaskTimerManager(void *argument)
{
  /* USER CODE BEGIN 5 */
  /* Infinite loop */
  for (;;)
  {
    osDelay(1000); // Tunggu 1 detik

    // Kunci mutex sebelum mengakses data timer
    if (osMutexAcquire(timerDataMutexHandle, osWaitForever) == osOK)
    {
      bool needs_saving = false;
      if (current_mode == MODE_RUN)
      {
        for (int i = 0; i < NUM_TIMERS; i++)
        {
          if (timers[i].is_running && timers[i].remaining_seconds > 0)
          {
            timers[i].remaining_seconds--;
            if (timers[i].remaining_seconds == 0)
            {
              timers[i].is_running = false;
              timers[i].is_finished = true; // Tandai sebagai selesai
              // Beri sinyal ke task buzzer bahwa timer telah selesai
              osSemaphoreRelease(buzzerSemaphoreHandle);
              needs_saving = true;
            }
          }
        }
      }
      // Simpan ke flash JIKA ada perubahan
      if (needs_saving)
      {
        Flash_Write_Data(timers, NUM_TIMERS);
      }

      // Lepaskan mutex setelah selesai
      osMutexRelease(timerDataMutexHandle);
    }
  }
  /* USER CODE END 5 */
}

void StartTaskDisplayManager(void *argument)
{
  /* USER CODE BEGIN StartTaskDisplayManager */
  char lcd_buffer_line1[17];
  char lcd_buffer_line2[17];
  char time_format_buffer[10];
  char current_format_buffer[10];

  // Buffer untuk menampung data piksel dari 8 modul matriks
  uint8_t display_buffer[NUM_MATRICES][8]; // [indeks_matriks][baris]

  uint8_t display_index = 0;

  /* Infinite loop */
  for (;;)
  {
    if (osMutexAcquire(timerDataMutexHandle, osWaitForever) == osOK)
    {
      uint16_t current_val = timers[display_index].current_mA;
      if (current_mode == MODE_RUN)
      {
        // Di mode RUN, tampilkan timer yang dipilih oleh rotary encoder
        display_index = run_mode_display_index;

        sprintf(lcd_buffer_line1, "T%d: %02u.%03uA", display_index + 1, current_val / 1000, current_val % 1000);

        format_time(time_format_buffer, timers[display_index].remaining_seconds);
        sprintf(lcd_buffer_line2, "%s %s", time_format_buffer,
                timers[display_index].is_running ? "RUN" : "STOP");
      }
      else // MODE_SET
      {
        // Di mode SET, tampilkan timer yang sedang di-edit
        display_index = selected_timer_index;
        sprintf(lcd_buffer_line1, "SET MODE   T:%d", display_index + 1);

        // Tampilkan nilai arus dalam format XX.XXX A
        sprintf(current_format_buffer, "%02u.%03u A", current_val / 1000, current_val % 1000);

        // Tampilkan waktu dalam format HH:MM:SS
        format_time(time_format_buffer, timers[display_index].remaining_seconds);

        // Tulis waktu di atasnya
        sprintf(lcd_buffer_line2, "%s %s",
                edit_focus == EDIT_FOCUS_CURRENT ? current_format_buffer
                                                 : time_format_buffer,
                edit_focus == EDIT_FOCUS_HOUR      ? "HOUR"
                : edit_focus == EDIT_FOCUS_MINUTE  ? "MINUTE"
                : edit_focus == EDIT_FOCUS_SECOND  ? "SECOND"
                : timers[display_index].is_running ? "RUN?"
                                                   : "STOP?");
      }

      // Update LED Indikator via 74HC595
      HC595_Write(1 << display_index);

      // --- LOGIKA BARU UNTUK DOT MATRIX ---

      // 1. Bersihkan buffer virtual
      memset(display_buffer, 0x00, sizeof(display_buffer));

      // 2. Siapkan string yang akan ditampilkan
      uint32_t h, m, s;
      format_time_split(timers[display_index].remaining_seconds, &h, &m, &s);

      char display_string[36];
      // Format: "T:HHMMSS" -> T=Timer #, H=Jam, M=Menit, S=Detik
      sprintf(display_string, "%1d:%02lu%02lu%02lu", (int)(display_index + 1), h, m, s);
      // Contoh hasil string: "1:012345"

      // 3. Gambar string ke buffer virtual, karakter per karakter
      // Matriks 0: Detik satuan
      DrawCharacterOnMatrix(display_buffer[0], display_string[7]);
      // Matriks 1: Detik puluhan
      DrawCharacterOnMatrix(display_buffer[1], display_string[6]);
      // Matriks 2: Menit satuan
      DrawCharacterOnMatrix(display_buffer[2], display_string[5]);
      // Matriks 3: Menit puluhan
      DrawCharacterOnMatrix(display_buffer[3], display_string[4]);
      // Matriks 4: Jam satuan
      DrawCharacterOnMatrix(display_buffer[4], display_string[3]);
      // Matriks 5: Jam puluhan
      DrawCharacterOnMatrix(display_buffer[5], display_string[2]);
      // Matriks 6: ':'
      DrawCharacterOnMatrix(display_buffer[6], display_string[1]);
      // Matriks 7: Timer #
      DrawCharacterOnMatrix(display_buffer[7], display_string[0]);

      osMutexRelease(timerDataMutexHandle);

      // 4. Kirim buffer virtual ke semua matriks, baris per baris
      uint8_t row_data[NUM_MATRICES];
      for (int row = 0; row < 8; row++)
      {
        // Kumpulkan data untuk baris 'row' dari semua 8 matriks
        for (int matrix = 0; matrix < NUM_MATRICES; matrix++)
        {
          row_data[matrix] = display_buffer[matrix][row];
        }
        // Kirim data untuk satu baris ke semua modul sekaligus
        // Register 1 untuk baris 1, 2 untuk baris 2, dst.
        MAX7219_Send_Cascade(row + 1, row_data);
      }

      // Update LCD
      lcd_put_cur(0, 0);
      lcd_send_string(lcd_buffer_line1);
      lcd_put_cur(1, 0);
      lcd_send_string(lcd_buffer_line2);

    } // End mutex acquire

    osDelay(150); // Refresh display setiap 150ms
  }
  /* USER CODE END StartTaskDisplayManager */
}

/* USER CODE BEGIN Header_StartTaskInputHandler */
/**
 * @brief Function implementing the taskInputHandler thread.
 * @param argument: Not used
 * @retval None
 *
 * Logika Baru untuk Rotary Encoder:
 * - Putaran:
 * - Mode RUN: Mengganti timer yang ditampilkan (run_mode_display_index).
 * - Mode SET: Mengubah nilai (jam/menit/detik) sesuai fokus.
 * - Tombol Tekan (B1_Pin):
 * - Tekan Singkat:
 * - Mode RUN: Masuk ke Mode SET untuk timer yang sedang ditampilkan.
 * - Mode SET: Memindahkan fokus edit (Jam -> Menit -> Detik -> Start/Stop -> Keluar).
 * - Tekan Lama:
 * - Mode SET: Keluar dari Mode SET dan kembali ke Mode RUN.
 */
/* USER CODE END Header_StartTaskInputHandler */
void StartTaskInputHandler(void *argument)
{
  /* USER CODE BEGIN StartTaskInputHandler */
  int16_t last_encoder_val = 0;
  uint32_t btn_press_start_time = 0;
  bool btn_is_pressed = false;
  bool long_press_triggered = false;
  const uint32_t long_press_duration = 1000; // 1 detik

  last_encoder_val = (int16_t)__HAL_TIM_GET_COUNTER(&htim2);

  for (;;)
  {
    // --- 1. Membaca Putaran Encoder ---
    int16_t current_encoder_val = (int16_t)__HAL_TIM_GET_COUNTER(&htim2);
    int16_t diff = current_encoder_val - last_encoder_val;

    if (abs(diff) >= 4) // Encoder biasanya 4 pulsa per 'klik'
    {
      int8_t clicks = diff / 4;
      last_encoder_val = current_encoder_val;

      if (osMutexAcquire(timerDataMutexHandle, 20) == osOK)
      {
        if (current_mode == MODE_RUN)
        {
          // Ganti timer yang ditampilkan
          int temp_idx = run_mode_display_index + clicks;
          if (temp_idx < 0)
            temp_idx = (temp_idx % NUM_TIMERS + NUM_TIMERS) % NUM_TIMERS;
          run_mode_display_index = temp_idx % NUM_TIMERS;
        }
        else
        { // MODE_SET
          uint32_t *p_seconds = &timers[selected_timer_index].remaining_seconds;
          uint16_t *p_current = &timers[selected_timer_index].current_mA;

          uint32_t h, m, s;
          format_time_split(*p_seconds, &h, &m, &s);

          switch (edit_focus)
          {
          case EDIT_FOCUS_HOUR:
            h = (h + clicks + 24) % 24; // Batasi 0-23
            break;
          case EDIT_FOCUS_MINUTE:
            m = (m + clicks + 60) % 60; // Batasi 0-59
            break;
          case EDIT_FOCUS_SECOND:
            s = (s + clicks + 60) % 60; // Batasi 0-59
            break;
          case EDIT_FOCUS_CURRENT:
          {
            int32_t new_current = *p_current + (clicks * 10);
            if (new_current < 0)
              new_current = 0;
            if (new_current > (MAX_CURRENT_A * 1000))
              new_current = MAX_CURRENT_A * 1000;
            *p_current = (uint16_t)new_current;
          }
          case EDIT_FOCUS_START_STOP:
            if (clicks != 0)
            { // Cukup satu klik untuk toggle
              timers[selected_timer_index].is_running = !timers[selected_timer_index].is_running;
              if (timers[selected_timer_index].is_running)
              {
                timers[selected_timer_index].is_finished = false;
              }
            }
            break;
          default:
            break;
          }
          *p_seconds = h * 3600 + m * 60 + s;
        }
        osMutexRelease(timerDataMutexHandle);
      }
    }

    // --- 2. Membaca Tombol Tekan Encoder ---
    // Menggunakan pull-up, jadi pin RESET (LOW) saat ditekan
    bool btn_current_state = (HAL_GPIO_ReadPin(BTN_ENC_GPIO_Port, BTN_ENC_Pin) == GPIO_PIN_RESET);

    // Deteksi tombol baru ditekan (transisi dari tidak ditekan ke ditekan)
    if (btn_current_state && !btn_is_pressed)
    {
      btn_is_pressed = true;
      long_press_triggered = false;
      btn_press_start_time = osKernelGetTickCount();
    }
    // Deteksi tombol dilepas (transisi dari ditekan ke tidak ditekan)
    else if (!btn_current_state && btn_is_pressed)
    {
      btn_is_pressed = false;
      if (!long_press_triggered)
      {
        // --- AKSI TEKAN SINGKAT ---
        if (osMutexAcquire(timerDataMutexHandle, 20) == osOK)
        {
          if (current_mode == MODE_RUN)
          {
            current_mode = MODE_SET;
            selected_timer_index = run_mode_display_index; // Edit timer yang ditampilkan
            edit_focus = EDIT_FOCUS_HOUR;                  // Mulai dari edit jam
          }
          else
          { // MODE_SET
            edit_focus++;
            if (edit_focus > EDIT_FOCUS_EXIT)
            {
              edit_focus = EDIT_FOCUS_HOUR;
            }
            if (edit_focus == EDIT_FOCUS_EXIT)
            {
              current_mode = MODE_RUN; // Simpan dan keluar
              // Simpan semua perubahan ke Flash saat keluar dari mode SET
              Flash_Write_Data(timers, NUM_TIMERS);
            }
          }
          osMutexRelease(timerDataMutexHandle);
        }
      }
    }

    // Deteksi tombol ditekan lama
    if (btn_is_pressed && !long_press_triggered && (osKernelGetTickCount() - btn_press_start_time > long_press_duration))
    {
      long_press_triggered = true;
      // --- AKSI TEKAN LAMA ---
      if (osMutexAcquire(timerDataMutexHandle, 20) == osOK)
      {
        if (current_mode == MODE_SET)
        {
          current_mode = MODE_RUN; // Batalkan dan keluar
          // Batalkan perubahan dengan memuat ulang semua data dari Flash
          Flash_Read_Data(timers, NUM_TIMERS);
        }
        osMutexRelease(timerDataMutexHandle);
      }
    }

    osDelay(20); // Poll input setiap 20ms
  }
  /* USER CODE END StartTaskInputHandler */
}

void StartTaskBuzzer(void *argument)
{
  /* USER CODE BEGIN StartTaskBuzzer */
  /* Infinite loop */
  for (;;)
  {
    // Tunggu sinyal dari semaphore (akan block sampai ada sinyal)
    if (osSemaphoreAcquire(buzzerSemaphoreHandle, osWaitForever) == osOK)
    {
      // Buzzer berbunyi
      HAL_GPIO_WritePin(BUZZER_GPIO_Port, BUZZER_Pin, GPIO_PIN_SET);
      osDelay(500);
      HAL_GPIO_WritePin(BUZZER_GPIO_Port, BUZZER_Pin, GPIO_PIN_RESET);
      osDelay(100);
      HAL_GPIO_WritePin(BUZZER_GPIO_Port, BUZZER_Pin, GPIO_PIN_SET);
      osDelay(500);
      HAL_GPIO_WritePin(BUZZER_GPIO_Port, BUZZER_Pin, GPIO_PIN_RESET);
    }
  }
  /* USER CODE END StartTaskBuzzer */
}

void StartTaskModbusMaster(void *argument)
{
  /* USER CODE BEGIN StartTaskModbusMaster */
  // Buffer untuk menampung data yang akan dikirim
  uint16_t modbus_data_buffer[MODBUS_NUM_REGISTERS];

  /* Infinite loop */
  for (;;)
  {
    // Kirim data setiap 2 detik
    osDelay(2000);

    // Ambil data timer dengan aman menggunakan mutex
    if (osMutexAcquire(timerDataMutexHandle, osWaitForever) == osOK)
    {
      // Susun data ke dalam buffer Modbus
      for (int i = 0; i < NUM_TIMERS; i++)
      {
        uint16_t status = 0; // Default: STOP
        if (timers[i].is_finished)
          status = 2; // FINISHED
        else if (timers[i].is_running)
          status = 1; // RUNNING

        uint32_t val = timers[i].remaining_seconds;
        uint16_t val_low = val & 0xFFFF;
        uint16_t val_high = (val >> 16) & 0xFFFF;
        uint16_t current_val = timers[i].current_mA;

        modbus_data_buffer[i * 4 + 0] = val_low;
        modbus_data_buffer[i * 4 + 1] = val_high;
        modbus_data_buffer[i * 4 + 2] = status;
        modbus_data_buffer[i * 4 + 3] = current_val;
      }
      osMutexRelease(timerDataMutexHandle);

      // Kirim data ke slave
      ModbusMaster_WriteMultipleRegisters(MODBUS_SLAVE_ID, MODBUS_START_ADDRESS, MODBUS_NUM_REGISTERS, modbus_data_buffer);
    }
  }
  /* USER CODE END StartTaskModbusMaster */
}

void HAL_TIM_PeriodElapsedCallback(TIM_HandleTypeDef *htim)
{
  if (htim->Instance == TIM7)
  {
    HAL_IncTick();
  }
}

void Error_Handler(void)
{
  /* USER CODE BEGIN Error_Handler_Debug */
  /* User can add his own implementation to report the HAL error return state */
  __disable_irq();
  while (1)
  {
    static uint32_t lastTick = 0;
    if (HAL_GetTick() - lastTick >= 500)
    {
      HAL_GPIO_TogglePin(GPIOA, GPIO_PIN_5); // Toggle an LED or GPIO pin to indicate an error
      lastTick = HAL_GetTick();
    }
    osDelay(10); // Prevents tight loop, allows RTOS to run other tasks
  }
  /* USER CODE END Error_Handler_Debug */
}
